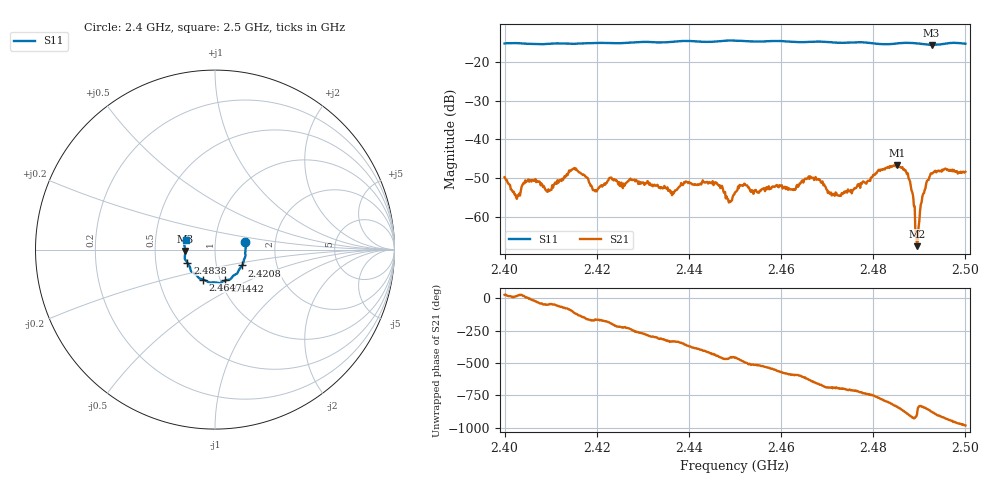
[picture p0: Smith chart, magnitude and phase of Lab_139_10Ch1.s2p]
# Hz S RI R 50
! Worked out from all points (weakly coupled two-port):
!   601 points, 2.4 GHz to 2.5 GHz, reference 50 ohm
!   highest |S21| = -46.68 dB at 2.4852 GHz (marker M1); lowest = -67.6 dB at 2.4895 GHz (marker M2)
!   lowest |S11| = -15.6 dB at 2.4927 GHz (marker M3), VSWR 1.40, Z = 35.8 - j0.54 ohm
!   |S11| at or under -10 dB: start of sweep to end of sweep
!   S12 and S22 are empty: the file has one direction only
!   S11 on the Smith chart (normalised r, x): 2.4 GHz: 1.40, +0.12; 2.4208 GHz: 1.33, -0.24; 2.4442 GHz: 1.05, -0.37; 2.4647 GHz: 0.83, -0.29; 2.4838 GHz: 0.73, -0.11; 2.5 GHz: 0.72, +0.08
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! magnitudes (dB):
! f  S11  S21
! 2.4 GHz  -15.3  -49.8
! 2.4028 GHz  -15.2  -54.5
! 2.405 GHz  -15.3  -50.7
! 2.4097 GHz  -15.3  -53.3
! 2.4145 GHz  -15.3  -47.8
! 2.4167 GHz  -15.3  -48.9
! 2.4208 GHz  -15.1  -52.1
! 2.4333 GHz  -15.0  -52.0
! 2.4442 GHz  -14.8  -51.4
! 2.4488 GHz  -14.5  -56.1
! 2.45 GHz  -14.5  -53.7
! 2.4647 GHz  -14.9  -50.6
! 2.4667 GHz  -14.8  -50.0
! 2.4727 GHz  -15.1  -54.6
! 2.4833 GHz  -15.4  -47.1
! 2.4838 GHz  -15.4  -47.0
! 2.4852 GHz  -15.3  -46.7
! 2.4877 GHz  -15.1  -50.0
! 2.4895 GHz  -15.2  -67.6
! 2.4912 GHz  -15.5  -53.1
! 2.4927 GHz  -15.6  -48.8
! 2.5 GHz  -15.3  -48.4
